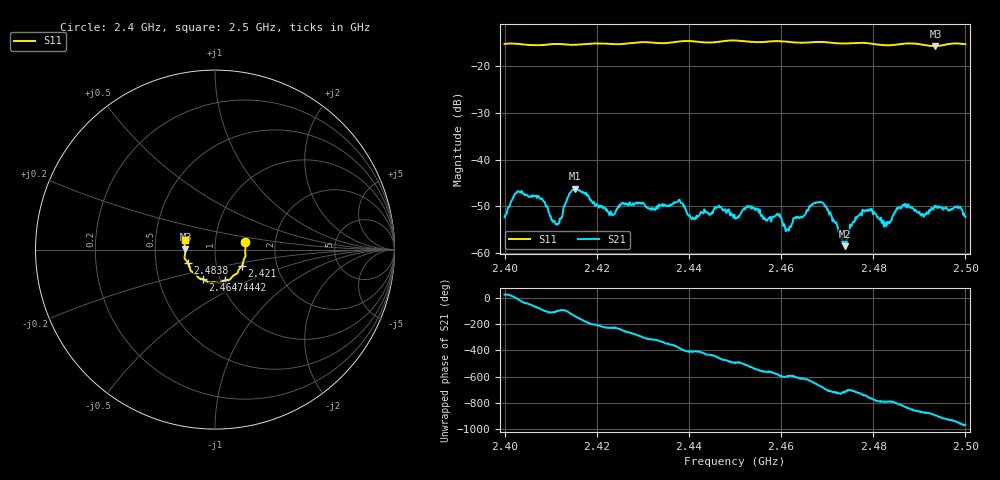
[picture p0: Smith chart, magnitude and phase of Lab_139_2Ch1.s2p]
# Hz S RI R 50
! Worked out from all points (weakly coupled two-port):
!   601 points, 2.4 GHz to 2.5 GHz, reference 50 ohm
!   highest |S21| = -46.26 dB at 2.4153 GHz (marker M1); lowest = -58.6 dB at 2.4738 GHz (marker M2)
!   lowest |S11| = -15.7 dB at 2.4935 GHz (marker M3), VSWR 1.39, Z = 35.8 + j0.194 ohm
!   |S11| at or under -10 dB: start of sweep to end of sweep
!   S12 and S22 are empty: the file has one direction only
!   S11 on the Smith chart (normalised r, x): 2.4 GHz: 1.40, +0.12; 2.421 GHz: 1.33, -0.24; 2.4442 GHz: 1.05, -0.37; 2.4647 GHz: 0.83, -0.28; 2.4838 GHz: 0.73, -0.11; 2.5 GHz: 0.71, +0.08
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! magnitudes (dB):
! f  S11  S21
! 2.4 GHz  -15.2  -52.4
! 2.4033 GHz  -15.2  -46.9
! 2.4077 GHz  -15.5  -48.4
! 2.4113 GHz  -15.2  -53.8
! 2.4153 GHz  -15.4  -46.3
! 2.4167 GHz  -15.3  -46.9
! 2.421 GHz  -15.1  -50.0
! 2.4333 GHz  -15.0  -50.5
! 2.4442 GHz  -14.9  -51.4
! 2.45 GHz  -14.5  -52.7
! 2.4532 GHz  -14.7  -50.1
! 2.4613 GHz  -14.7  -55.0
! 2.4647 GHz  -14.9  -52.3
! 2.4667 GHz  -14.8  -49.6
! 2.4693 GHz  -14.8  -49.6
! 2.4738 GHz  -15.1  -58.6
! 2.4782 GHz  -15.0  -51.2
! 2.4833 GHz  -15.5  -53.4
! 2.4838 GHz  -15.5  -53.2
! 2.4867 GHz  -15.1  -49.8
! 2.4935 GHz  -15.7  -50.2
! 2.5 GHz  -15.3  -52.3
